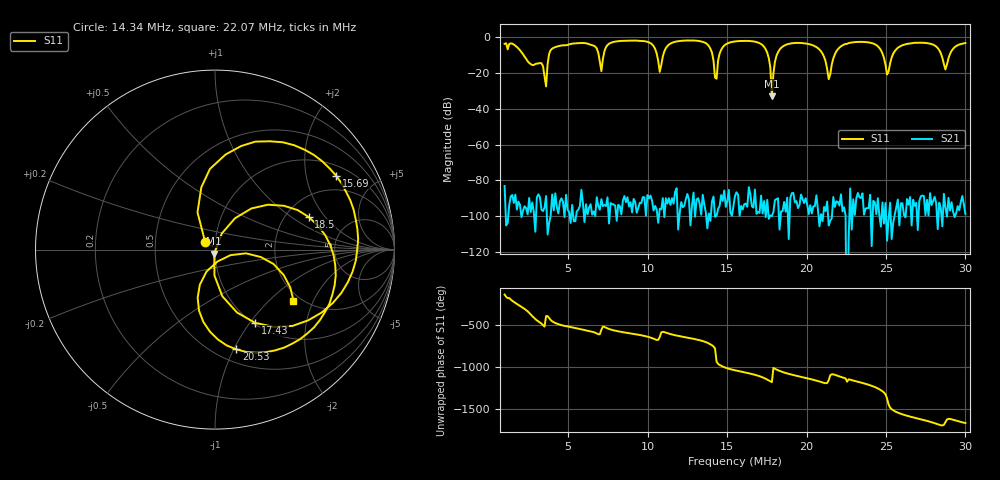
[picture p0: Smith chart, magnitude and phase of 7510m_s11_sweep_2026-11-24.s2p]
!File created by NanoVNA-F V2
# Hz S RI R 50
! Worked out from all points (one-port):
!   301 points, 1 MHz to 30 MHz, reference 50 ohm
!   lowest |S11| = -33.0 dB at 17.82 MHz (marker M1), VSWR 1.05, Z = 49.6 - j2.17 ohm
!   |S11| at or under -10 dB: 2.204 MHz to 3.788 MHz (1.584 MHz wide, 52.9 % of centre); 17.58 MHz to 18.12 MHz (547.9 kHz wide, 3.07 % of centre); 21.06 MHz to 21.76 MHz (702.4 kHz wide, 3.28 % of centre)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
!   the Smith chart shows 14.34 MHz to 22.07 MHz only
!   S11 on the Smith chart (normalised r, x): 14.34 MHz: 0.89, +0.08; 15.69 MHz: 1.36, +2.99; 17.43 MHz: 1.02, -1.06; 18.5 MHz: 2.66, +1.39; 20.53 MHz: 0.62, -1.02; 22.07 MHz: 1.83, -1.43
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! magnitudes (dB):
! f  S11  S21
! 1 MHz  -3.5  -83.3
! 3.61 MHz  -27.4  -88.9
! 3.9 MHz  -7.0  -99.7
! 5.833 MHz  -3.1  -85.4
! 7.09 MHz  -18.9  -90.6
! 7.863 MHz  -2.5  -93.6
! 10.67 MHz  -13.1  -103.9
! 13.47 MHz  -2.5  -88.2
! 14.34 MHz  -23.1  -100.0
! 15.5 MHz  -2.2  -88.8
! 15.69 MHz  -2.0  -88.3
! 17.43 MHz  -6.6  -100.7
! 17.82 MHz  -33.0  -100.1
! 18.5 MHz  -5.1  -97.3
! 20.33 MHz  -4.2  -98.6
! 20.53 MHz  -4.9  -94.5
! 21.4 MHz  -23.4  -105.4
! 22.07 MHz  -5.7  -94.2
! 25.17 MHz  -19.0  -101.9
! 26.04 MHz  -4.3  -92.9
! 28.74 MHz  -18.0  -95.4
! 30 MHz  -3.1  -98.9
